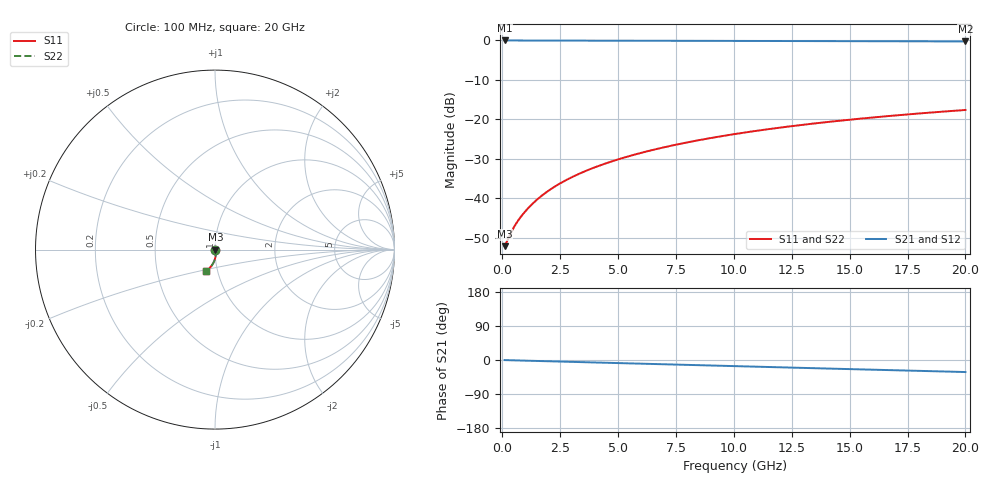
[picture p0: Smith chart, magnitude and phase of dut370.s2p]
! Touchstone file exported from HFSS 2026.1.0
!  File:  C:/ffzhzh/LocalFiles/Ansys_Project_Files/temp_train_BSMRDL_370_1783011772_4048.aedt
!  Generated:  01:04:05 AM Jul  3, 2026
!  Design:  BSMRDL
!  Project:  temp_train_BSMRDL_370_1783011772_4048
! Variables:
!  h_bsmrdl = 3.4um
!  h_ox = 20um
!  h_rdl = 5um
!  h_sub = 80um
!  h_tmrdl = 5um
!  h_tsv = 80um
!  h_via = 3um
!  l_bsmrdl = 542.66um
!  l_sub = 942.66um
!  l_tmrdl = 200um
!  m_sub = 200um
!  pitch = 28.73um
!  r_tsv = 6um
!  s_tmrdl = 10um
!  w_bsmrdl = 26.56um
!  w_sub = 500um
!  w_tmrdl = 12um
!  x_tsv_center1 = 206um
!  x_tsv_center2 = 775.22um
!  x_tsv_center3 = 987.22um
!  x_tsv_center4 = 1556.44um
!  x_tsv_center5 = 1768.44um
!  x_tsv_center6 = 2337.66um
# GHz S MA R 50.000000
! Terminal data exported
! Port[1] = BSM_RDL1_1_T1
! Port[2] = BSM_RDL1_1_T2
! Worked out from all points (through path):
!   200 points, 100 MHz to 20 GHz, reference 50 ohm
!   highest |S21| = -0.02 dB at 100 MHz (marker M1); lowest = -0.3 dB at 20 GHz (marker M2)
!   group delay of S21, straight-line fit = 4.39 ps
!   lowest |S11| = -52.1 dB at 100 MHz (marker M3), VSWR 1.00, Z = 50.2 + j0.00751 ohm
!   |S11| at or under -10 dB: start of sweep to end of sweep
!   |S22| runs from -52.1 to -17.6 dB; largest |S21 - S12| = 3.2e-15
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0.1  0.002477 1.7  0.9975 -0.2  0.9975 -0.2  0.002477 1.7
! Gamma 0 0 0 0
! Port Impedance 50 0 50 0
0.4  0.003795 -11.7  0.9963 -0.8  0.9963 -0.8  0.003795 -11.7
0.6  0.0048 -24.5  0.9956 -1.1  0.9956 -1.1  0.004801 -24.5
0.7  0.005309 -30.2  0.9953 -1.2  0.9953 -1.2  0.00531 -30.2
0.9  0.006348 -39.5  0.995 -1.6  0.995 -1.6  0.00635 -39.5
1.1  0.007417 -46.8  0.9947 -1.9  0.9947 -1.9  0.007419 -46.7
1.3  0.008512 -52.4  0.9945 -2.2  0.9945 -2.2  0.008515 -52.4
1.5  0.009631 -56.9  0.9943 -2.5  0.9943 -2.5  0.009634 -56.9
1.8  0.01134 -62.1  0.9941 -3.0  0.9941 -3.0  0.01135 -62.0
2.3  0.01427 -68.1  0.9937 -3.8  0.9937 -3.8  0.01428 -68.1
2.9  0.01788 -73.0  0.9932 -4.8  0.9932 -4.8  0.01788 -73.0
3.5  0.02157 -76.5  0.9926 -5.8  0.9926 -5.8  0.02157 -76.4
4.2  0.02597 -79.5  0.9919 -6.9  0.9919 -6.9  0.02598 -79.5
5  0.0311 -82.3  0.9909 -8.2  0.9909 -8.2  0.03112 -82.2
5.9  0.037 -84.9  0.9898 -9.7  0.9898 -9.7  0.03702 -84.8
6.8  0.04301 -87.2  0.9886 -11.1  0.9886 -11.1  0.04303 -87.1
8.4  0.05387 -90.9  0.9864 -13.7  0.9864 -13.7  0.0539 -90.8
10.1  0.06554 -94.5  0.9841 -16.4  0.9841 -16.4  0.06558 -94.3
11.7  0.07654 -97.7  0.9818 -18.9  0.9818 -18.9  0.07659 -97.5
13.4  0.08815 -101.0  0.9793 -21.5  0.9793 -21.5  0.08821 -100.8
16.7  0.1102 -107.1  0.9745 -26.7  0.9745 -26.7  0.1103 -106.9
20  0.1314 -113.0  0.9694 -31.8  0.9694 -31.8  0.1315 -112.7
